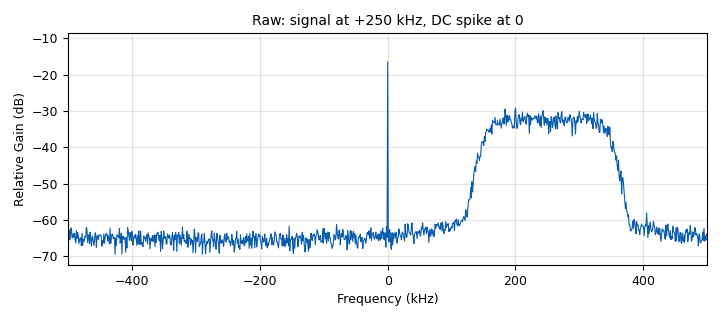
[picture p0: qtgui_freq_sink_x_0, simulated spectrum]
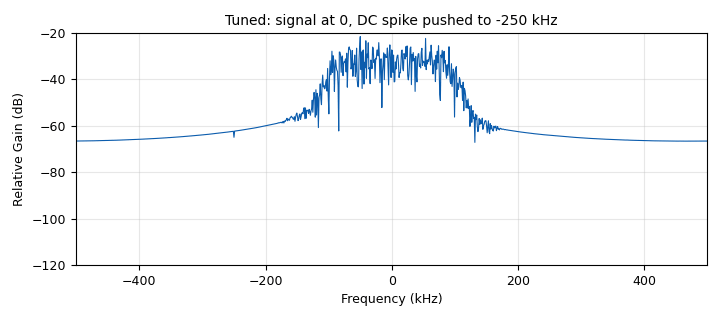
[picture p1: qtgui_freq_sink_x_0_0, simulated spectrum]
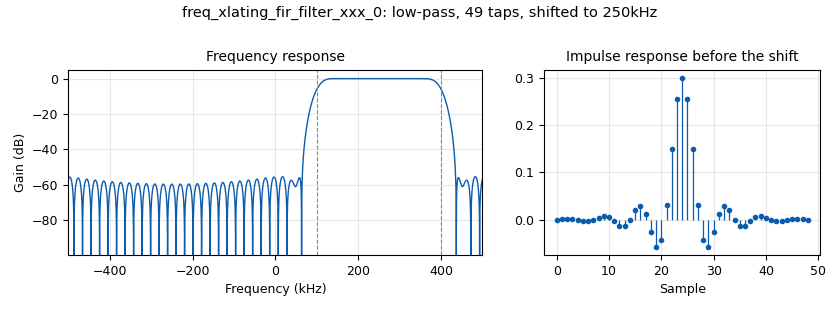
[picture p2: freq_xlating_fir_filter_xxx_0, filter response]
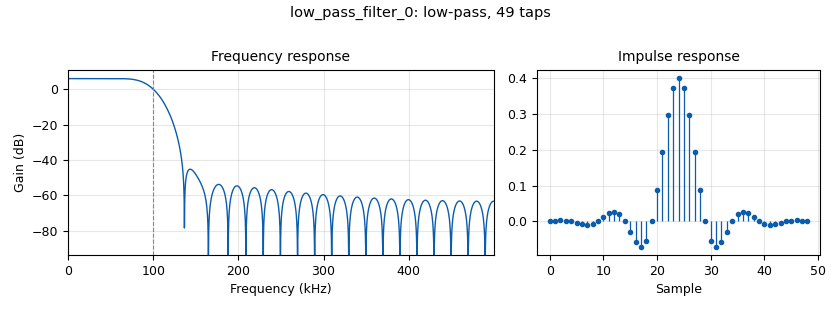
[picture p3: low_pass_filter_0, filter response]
options:
  parameters:
    generate_options: no_gui
    id: bandpass
    output_language: python
    title: Not titled yet
  states: {}

blocks:
- name: dc_amp
  id: variable_qtgui_range
  parameters:
    label: DC offset amplitude
    start: '0'
    step: '25e-3'
    stop: '3'
    value: '150e-3'
  states: {}
- name: samp_rate
  id: variable
  parameters:
    value: 10e5
  states: {}
- name: soi_offset
  id: variable
  parameters:
    value: 250e3
  states: {}
- name: analog_noise_source_x_0
  id: analog_noise_source_x
  parameters:
    amp: '500e-3'
    noise_type: analog.GR_GAUSSIAN
    seed: '0'
    type: complex
  states: {}
- name: analog_noise_source_x_1
  id: analog_noise_source_x
  parameters:
    amp: '20e-3'
    noise_type: analog.GR_GAUSSIAN
    seed: '1'
    type: complex
  states: {}
- name: analog_sig_source_x_0
  id: analog_sig_source_x
  parameters:
    amp: '1'
    freq: 250e3
    offset: '0'
    phase: '0'
    samp_rate: samp_rate
    type: complex
    waveform: analog.GR_COS_WAVE
  states: {}
- name: blocks_add_const_vxx_0
  id: blocks_add_const_vxx
  parameters:
    const: dc_amp
    type: complex
  states: {}
- name: blocks_add_xx_0
  id: blocks_add_xx
  parameters:
    type: complex
  states: {}
- name: blocks_multiply_xx_0
  id: blocks_multiply_xx
  parameters:
    type: complex
  states: {}
- name: blocks_throttle2_0
  id: blocks_throttle2
  parameters:
    samples_per_second: samp_rate
    type: complex
  states: {}
- name: freq_xlating_fir_filter_xxx_0
  id: freq_xlating_fir_filter_xxx
  parameters:
    center_freq: soi_offset
    decim: '1'
    samp_rate: samp_rate
    taps: firdes.low_pass(1, samp_rate, 150e3, 50e3)
    type: ccc
  states: {}
- name: low_pass_filter_0
  id: low_pass_filter
  parameters:
    cutoff_freq: '100000'
    decim: '1'
    gain: '2'
    samp_rate: samp_rate
    type: fir_filter_ccf
    width: '50000'
    win: window.WIN_HAMMING
  states: {}
- name: qtgui_freq_sink_x_0
  id: qtgui_freq_sink_x
  parameters:
    autoscale: 'True'
    average: '0.05'
    bw: samp_rate
    fc: '0'
    fftsize: '1024'
    name: '"Raw: signal at +250 kHz, DC spike at 0"'
    type: complex
    wintype: window.WIN_RECTANGULAR
    ymin: '-100'
  states: {}
- name: qtgui_freq_sink_x_0_0
  id: qtgui_freq_sink_x
  parameters:
    bw: samp_rate
    fc: '0'
    fftsize: '1024'
    name: '"Tuned: signal at 0, DC spike pushed to -250 kHz"'
    type: complex
    wintype: window.WIN_RECTANGULAR
    ymax: '-20'
    ymin: '-120'
  states: {}

connections:
- [analog_noise_source_x_0, '0', low_pass_filter_0, '0']
- [analog_noise_source_x_1, '0', blocks_add_xx_0, '1']
- [analog_sig_source_x_0, '0', blocks_multiply_xx_0, '1']
- [blocks_add_const_vxx_0, '0', blocks_throttle2_0, '0']
- [blocks_add_xx_0, '0', blocks_add_const_vxx_0, '0']
- [blocks_multiply_xx_0, '0', blocks_add_xx_0, '0']
- [blocks_throttle2_0, '0', freq_xlating_fir_filter_xxx_0, '0']
- [blocks_throttle2_0, '0', qtgui_freq_sink_x_0, '0']
- [freq_xlating_fir_filter_xxx_0, '0', qtgui_freq_sink_x_0_0, '0']
- [low_pass_filter_0, '0', blocks_multiply_xx_0, '0']

metadata:
  file_format: 1
  grc_version: 3.10.12.0
